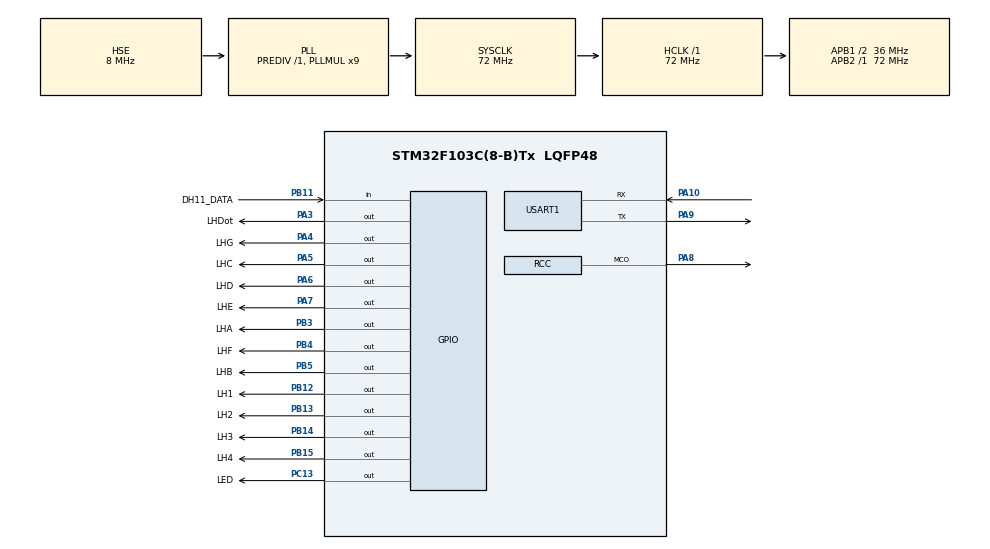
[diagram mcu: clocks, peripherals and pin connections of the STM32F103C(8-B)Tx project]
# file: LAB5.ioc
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Dma.Request0=USART1_TX
Dma.USART1_TX.0.Direction=DMA_MEMORY_TO_PERIPH
Dma.USART1_TX.0.Instance=DMA1_Channel4
Dma.USART1_TX.0.MemDataAlignment=DMA_MDATAALIGN_BYTE
Dma.USART1_TX.0.MemInc=DMA_MINC_ENABLE
Dma.USART1_TX.0.Mode=DMA_NORMAL
Dma.USART1_TX.0.PeriphDataAlignment=DMA_PDATAALIGN_BYTE
Dma.USART1_TX.0.PeriphInc=DMA_PINC_DISABLE
Dma.USART1_TX.0.Priority=DMA_PRIORITY_HIGH
FREERTOS.Tasks01=defaultTask,24,128,StartDefaultTask,Default,NULL,Dynamic,NULL,NULL
FREERTOS.configUSE_NEWLIB_REENTRANT=1
Mcu.Family=STM32F1
Mcu.Name=STM32F103C(8-B)Tx
Mcu.Package=LQFP48
NVIC.DMA1_Channel4_IRQn=true\:5\:0\:true\:false\:true\:true\:false\:true\:true
NVIC.PriorityGroup=NVIC_PRIORITYGROUP_4
NVIC.TIM1_UP_IRQn=true\:15\:0\:true\:false\:true\:false\:false\:true\:true
NVIC.TIM3_IRQn=true\:5\:0\:false\:false\:true\:true\:true\:true\:true
NVIC.TimeBase=TIM1_UP_IRQn
NVIC.TimeBaseIP=TIM1
NVIC.USART1_IRQn=true\:5\:0\:false\:false\:true\:true\:true\:true\:true
PA10.Mode=Asynchronous
PA10.Signal=USART1_RX
PA13.Mode=Serial_Wire
PA13.Signal=SYS_JTMS-SWDIO
PA14.Mode=Serial_Wire
PA14.Signal=SYS_JTCK-SWCLK
PA3.GPIO_Label=LHDot
PA3.GPIO_PuPd=GPIO_PULLUP
PA3.GPIO_Speed=GPIO_SPEED_FREQ_HIGH
PA3.Signal=GPIO_Output
PA4.GPIO_Label=LHG
PA4.GPIO_PuPd=GPIO_PULLUP
PA4.GPIO_Speed=GPIO_SPEED_FREQ_HIGH
PA4.Signal=GPIO_Output
PA5.GPIO_Label=LHC
PA5.GPIO_PuPd=GPIO_PULLUP
PA5.GPIO_Speed=GPIO_SPEED_FREQ_HIGH
PA5.Signal=GPIO_Output
PA6.GPIO_Label=LHD
PA6.GPIO_PuPd=GPIO_PULLUP
PA6.GPIO_Speed=GPIO_SPEED_FREQ_HIGH
PA6.Signal=GPIO_Output
PA7.GPIO_Label=LHE
PA7.GPIO_PuPd=GPIO_PULLUP
PA7.GPIO_Speed=GPIO_SPEED_FREQ_HIGH
PA7.Signal=GPIO_Output
PA8.Mode=Clock-out
PA8.Signal=RCC_MCO
PA9.Mode=Asynchronous
PA9.Signal=USART1_TX
PB11.GPIO_Label=DH11_DATA
PB11.GPIO_PuPd=GPIO_PULLUP
PB11.Signal=GPIO_Input
PB12.GPIO_Label=LH1
PB12.GPIO_PuPd=GPIO_PULLUP
PB12.GPIO_Speed=GPIO_SPEED_FREQ_HIGH
PB12.PinState=GPIO_PIN_SET
PB12.Signal=GPIO_Output
PB13.GPIO_Label=LH2
PB13.GPIO_PuPd=GPIO_PULLUP
PB13.GPIO_Speed=GPIO_SPEED_FREQ_HIGH
PB13.PinState=GPIO_PIN_SET
PB13.Signal=GPIO_Output
PB14.GPIO_Label=LH3
PB14.GPIO_ModeDefaultOutputPP=GPIO_MODE_OUTPUT_PP
PB14.GPIO_PuPd=GPIO_PULLUP
PB14.GPIO_Speed=GPIO_SPEED_FREQ_HIGH
PB14.PinState=GPIO_PIN_SET
PB14.Signal=GPIO_Output
PB15.GPIO_Label=LH4
PB15.GPIO_PuPd=GPIO_PULLUP
PB15.GPIO_Speed=GPIO_SPEED_FREQ_HIGH
PB15.PinState=GPIO_PIN_SET
PB15.Signal=GPIO_Output
PB3.GPIO_Label=LHA
PB3.GPIO_PuPd=GPIO_PULLUP
PB3.GPIO_Speed=GPIO_SPEED_FREQ_HIGH
PB3.Signal=GPIO_Output
PB4.GPIO_Label=LHF
PB4.GPIO_PuPd=GPIO_PULLUP
PB4.GPIO_Speed=GPIO_SPEED_FREQ_HIGH
PB4.Signal=GPIO_Output
PB5.GPIO_Label=LHB
PB5.GPIO_PuPd=GPIO_PULLUP
PB5.GPIO_Speed=GPIO_SPEED_FREQ_HIGH
PB5.Signal=GPIO_Output
PC13-TAMPER-RTC.GPIO_Label=LED
PC13-TAMPER-RTC.Signal=GPIO_Output
PC14-OSC32_IN.Mode=LSE-External-Oscillator
PC14-OSC32_IN.Signal=RCC_OSC32_IN
PC15-OSC32_OUT.Mode=LSE-External-Oscillator
PC15-OSC32_OUT.Signal=RCC_OSC32_OUT
PD0-OSC_IN.Mode=HSE-External-Oscillator
PD0-OSC_IN.Signal=RCC_OSC_IN
PD1-OSC_OUT.Mode=HSE-External-Oscillator
PD1-OSC_OUT.Signal=RCC_OSC_OUT
ProjectManager.HeapSize=0x200
ProjectManager.StackSize=0x400
ProjectManager.TargetToolchain=STM32CubeIDE
RCC.AHBFreq_Value=72000000
RCC.APB1CLKDivider=RCC_HCLK_DIV2
RCC.APB1Freq_Value=36000000
RCC.APB1TimFreq_Value=72000000
RCC.APB2Freq_Value=72000000
RCC.APB2TimFreq_Value=72000000
RCC.HCLKFreq_Value=72000000
RCC.PLLMUL=RCC_PLL_MUL9
RCC.PLLSourceVirtual=RCC_PLLSOURCE_HSE
RCC.RCC_MCOSource=RCC_MCO1SOURCE_PLLCLK
RCC.SYSCLKFreq_VALUE=72000000
RCC.SYSCLKSource=RCC_SYSCLKSOURCE_PLLCLK
RCC.USBFreq_Value=72000000
TIM2.Prescaler=72-1
USART1.VirtualMode=VM_ASYNC
VP_FREERTOS_VS_CMSIS_V2.Mode=CMSIS_V2
VP_SYS_VS_tim1.Mode=TIM1
VP_TIM2_VS_ClockSourceINT.Mode=Internal
VP_TIM3_VS_ClockSourceINT.Mode=Internal
board=custom

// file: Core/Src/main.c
/* USER CODE BEGIN Header */
/**
  ******************************************************************************
  * @file           : main.c
  * @brief          : Main program body
  ******************************************************************************
  * @attention
  *
  * Copyright (c) 2023 STMicroelectronics.
  * All rights reserved.
  *
  * This software is licensed under terms that can be found in the LICENSE file
  * in the root directory of this software component.
  * If no LICENSE file comes with this software, it is provided AS-IS.
  *
  ******************************************************************************
  */
/* USER CODE END Header */
#include "main.h"
#include "cmsis_os.h"
#include "dma.h"
#include "tim.h"
#include "usart.h"
#include "gpio.h"

/* USER CODE BEGIN Includes */
#include "FreeRTOS.h"
/* USER CODE END Includes */

void SystemClock_Config(void);
void MX_FREERTOS_Init(void);

int main(void)
{

  /* MCU Configuration--------------------------------------------------------*/

  /* Reset of all peripherals, Initializes the Flash interface and the Systick. */
  HAL_Init();

  /* Configure the system clock */
  SystemClock_Config();

  /* Initialize all configured peripherals */
  MX_GPIO_Init();
  MX_DMA_Init();
  MX_USART1_UART_Init();
  MX_TIM2_Init();
  MX_TIM3_Init();
  /* USER CODE BEGIN 2 */
  HAL_Delay(1000);
  /* USER CODE END 2 */

  /* Init scheduler */
  osKernelInitialize();  /* Call init function for freertos objects (in freertos.c) */
  MX_FREERTOS_Init();

  /* Start scheduler */
  osKernelStart();
  /* We should never get here as control is now taken by the scheduler */
  /* Infinite loop */
  while (1)
  {

  }
}

void SystemClock_Config(void)
{
  RCC_OscInitTypeDef RCC_OscInitStruct = {0};
  RCC_ClkInitTypeDef RCC_ClkInitStruct = {0};

  /** Initializes the RCC Oscillators according to the specified parameters
  * in the RCC_OscInitTypeDef structure.
  */
  RCC_OscInitStruct.OscillatorType = RCC_OSCILLATORTYPE_HSE;
  RCC_OscInitStruct.HSEState = RCC_HSE_ON;
  RCC_OscInitStruct.HSEPredivValue = RCC_HSE_PREDIV_DIV1;
  RCC_OscInitStruct.HSIState = RCC_HSI_ON;
  RCC_OscInitStruct.PLL.PLLState = RCC_PLL_ON;
  RCC_OscInitStruct.PLL.PLLSource = RCC_PLLSOURCE_HSE;
  RCC_OscInitStruct.PLL.PLLMUL = RCC_PLL_MUL9;
  if (HAL_RCC_OscConfig(&RCC_OscInitStruct) != HAL_OK)
  {
    Error_Handler();
  }

  /** Initializes the CPU, AHB and APB buses clocks
  */
  RCC_ClkInitStruct.ClockType = RCC_CLOCKTYPE_HCLK|RCC_CLOCKTYPE_SYSCLK
                              |RCC_CLOCKTYPE_PCLK1|RCC_CLOCKTYPE_PCLK2;
  RCC_ClkInitStruct.SYSCLKSource = RCC_SYSCLKSOURCE_PLLCLK;
  RCC_ClkInitStruct.AHBCLKDivider = RCC_SYSCLK_DIV1;
  RCC_ClkInitStruct.APB1CLKDivider = RCC_HCLK_DIV2;
  RCC_ClkInitStruct.APB2CLKDivider = RCC_HCLK_DIV1;

  if (HAL_RCC_ClockConfig(&RCC_ClkInitStruct, FLASH_LATENCY_2) != HAL_OK)
  {
    Error_Handler();
  }
  HAL_RCC_MCOConfig(RCC_MCO, RCC_MCO1SOURCE_PLLCLK, RCC_MCODIV_1);
}

void HAL_TIM_PeriodElapsedCallback(TIM_HandleTypeDef *htim)
{
  if (htim->Instance == TIM1) {
    HAL_IncTick();
  }
}

void Error_Handler(void)
{
  __disable_irq();
  while (1)
  {
  }
}

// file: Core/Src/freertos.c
/* USER CODE BEGIN Header */
/**
  ******************************************************************************
  * File Name          : freertos.c
  * Description        : Code for freertos applications
  ******************************************************************************
  * @attention
  *
  * Copyright (c) 2023 STMicroelectronics.
  * All rights reserved.
  *
  * This software is licensed under terms that can be found in the LICENSE file
  * in the root directory of this software component.
  * If no LICENSE file comes with this software, it is provided AS-IS.
  *
  ******************************************************************************
  */
/* USER CODE END Header */

#include "FreeRTOS.h"
#include "task.h"
#include "main.h"
#include "cmsis_os.h"

/* USER CODE BEGIN Includes */
#include <string.h>
#include <stdio.h>

/* USER CODE END Includes */

/* USER CODE BEGIN PD */
#define TASK_LED
#define TASK_DH11
#define TASK_Display
//#define SameDigit
//#define CountDigit
#define DHT_Digit
#define Light

//数码管掩�????
#define Mask       0x01
#define Shift_A    0x00
#define Shift_B    0x01
#define Shift_C    0x02
#define Shift_D    0x03
#define Shift_E    0x04
#define Shift_F    0x05
#define Shift_G    0x06
#define Shift_Dot  0x07

/* USER CODE END PD */

/* USER CODE BEGIN Variables */
extern UART_HandleTypeDef huart1;
extern TIM_HandleTypeDef htim2;
uint8_t TxBuffer[128];

uint8_t temperature[2];
uint8_t humidity[2];
#ifdef DHT_Digit
uint32_t DHTnumber;
#endif

#ifdef TASK_LED
const char* LED_pcName = "TASK_LED";
const uint16_t LED_usStackDepth = 64;
const UBaseType_t LED_uxPriority = osPriorityNormal1;
TaskHandle_t LED_pxCreatedTask;
#endif
#ifdef TASK_DH11
const char* DH11_pcName = "TASK_DH11";
const uint16_t DH11_usStackDepth = 128;
const UBaseType_t DH11_uxPriority = osPriorityNormal1;
TaskHandle_t DH11_pxCreatedTask;
#endif
#ifdef TASK_Display
const char* Display_pcName = "TASK_Display";
const uint16_t Display_usStackDepth = 64;
const UBaseType_t Display_uxPriority = osPriorityNormal1;
TaskHandle_t Display_pxCreatedTask;
#endif

static const uint8_t Digit[10] = {//数字的数码管表示，每�??0 bit表示显示对应的段，从高到低分别Dot,G,F,E,D,C,B,A�??
    0b11000000,  // 0
    0b11111001,  // 1
    0b10100100,  // 2
    0b10110000,  // 3
    0b10011001,  // 4
    0b10010010,  // 5
    0b10000010,  // 6
    0b11111000,  // 7
    0b10000000,  // 8
    0b10010000   // 9
};
#ifdef CountDigit
static uint32_t digit;
const char* Digit_pcName = "TASK_Digit";
const uint16_t Digit_usStackDepth = 64;
const UBaseType_t Digit_uxPriority = osPriorityNormal1;
TaskHandle_t Digit_pxCreatedTask;
#endif

/* USER CODE END Variables */
/* Definitions for defaultTask */
osThreadId_t defaultTaskHandle;
const osThreadAttr_t defaultTask_attributes = {
  .name = "defaultTask",
  .stack_size = 128 * 4,
  .priority = (osPriority_t) osPriorityNormal,
};

/* USER CODE BEGIN FunctionPrototypes */
void vLEDTaskStart(void *pvParameters);

void GpioSwitchToInput(GPIO_TypeDef *GPIO_Port, uint16_t GPIO_Pin);
void GpioSwitchToOutput(GPIO_TypeDef *GPIO_Port, uint16_t GPIO_Pin);
void vDH11TaskStart(void * pvParameters);
void vDH11SignalStart();
void Delay_us(uint16_t delay);
uint8_t CheckResponseSignal();

uint8_t DH11BitRead();
uint8_t DH11ByteRead();
uint8_t DH11AllConnect();

void vDisplayTaskStart(void * pvParameters);
void OneDigit(uint8_t digit);
void DiffDigit(uint32_t* digit);
void vDigitTaskStart(void* pvParameters);

void OneDigit_SameLight(uint8_t digit);

/* USER CODE END FunctionPrototypes */

void StartDefaultTask(void *argument);

void MX_FREERTOS_Init(void); /* (MISRA C 2004 rule 8.1) */

void MX_FREERTOS_Init(void) {

  /* Create the thread(s) */
  /* creation of defaultTask */
  defaultTaskHandle = osThreadNew(StartDefaultTask, NULL, &defaultTask_attributes);

  /* USER CODE BEGIN RTOS_THREADS */
  /* add threads, ... */

#ifdef TASK_LED
  if(xTaskCreate(vLEDTaskStart,LED_pcName,LED_usStackDepth,NULL,LED_uxPriority,&LED_pxCreatedTask) != pdPASS) {
    uint8_t ch[] = "Fail to create Task_LED!!!\r\n";
    HAL_UART_Transmit(&huart1, ch, strlen((char*)ch), 0xFFFF);
    } //else {
//    uint8_t ch[] = "Create Task_LED success!!!\r\n";
//    HAL_UART_Transmit(&huart1, ch, strlen((char*)ch), 0xFFFF);
//  }
#endif
#ifdef TASK_DH11
  if (xTaskCreate(vDH11TaskStart, DH11_pcName, DH11_usStackDepth, NULL, DH11_uxPriority, &DH11_pxCreatedTask) != pdPASS)
  {
	  char* ch = "Failed to create Task_DHT11!\r\n";
	  HAL_UART_Transmit(&huart1, (uint8_t*)ch, strlen((char*)ch), 0xffff);
  }
  // else {
  //   sprintf((char*)TxBuffer,"Create Task_DH11 success!!!\r\n");
  //   HAL_UART_Transmit_DMA(&huart1, TxBuffer,30);
  // }
#endif

#ifdef TASK_Display
  if (xTaskCreate(vDisplayTaskStart, Display_pcName, Display_usStackDepth, NULL, Display_uxPriority, &Display_pxCreatedTask) != pdPASS)
  {
    char* ch = "Failed to create Task_Display!\r\n";
    HAL_UART_Transmit(&huart1, (uint8_t*)ch, strlen((char*)ch), 0xffff);
  }
#endif
#ifdef CountDigit
  if (xTaskCreate(vDigitTaskStart, Digit_pcName, Digit_usStackDepth, NULL, Digit_uxPriority, &Digit_pxCreatedTask) != pdPASS)
  {
    char* ch = "Failed to create Task_Digit!\r\n";
    HAL_UART_Transmit(&huart1, (uint8_t*)ch, strlen((char*)ch), 0xffff);
  }

#endif

  /* USER CODE END RTOS_THREADS */

}

void StartDefaultTask(void *argument)
{
  /* USER CODE BEGIN StartDefaultTask */
  /* Infinite loop */
  for(;;)
  {
    osDelay(500);
  }
  /* USER CODE END StartDefaultTask */
}

/* USER CODE BEGIN Application */

void vLEDTaskStart(void *pvParameters)
{
  TickType_t xLastWakeTime;
  const TickType_t delay_time = pdMS_TO_TICKS(1000);

  xLastWakeTime = xTaskGetTickCount();
  for(;;)
  {
    HAL_GPIO_TogglePin(LED_GPIO_Port, LED_Pin);//翻转电平
    vTaskDelayUntil(&xLastWakeTime, delay_time);//延时
  }
}
/**
 * @brief 修改对应引脚模式为输入模�????????????
 *
 * @param GPIO_Port 引脚端口
 * @param GPIO_Pin 引脚编号
 */
void GpioSwitchToInput(GPIO_TypeDef *GPIO_Port, uint16_t GPIO_Pin)
{
  GPIO_InitTypeDef GPIO_InitStruct = {0};

  GPIO_InitStruct.Pin = GPIO_Pin; //设置引脚编号
  GPIO_InitStruct.Mode = GPIO_MODE_INPUT;//设置引脚模式
  GPIO_InitStruct.Pull = GPIO_PULLUP;//省略上拉电阻
  // GPIO_InitStruct.Speed = GPIO_SPEED_FREQ_LOW;
  HAL_GPIO_Init(GPIO_Port, &GPIO_InitStruct);
}
/**
 * @brief 修改对应引脚模式为输出模�????????????
 *
 * @param GPIO_Port 引脚端口
 * @param GPIO_Pin 引脚编号
 */
void GpioSwitchToOutput(GPIO_TypeDef *GPIO_Port, uint16_t GPIO_Pin)
{
  GPIO_InitTypeDef GPIO_InitStruct = {0};

  GPIO_InitStruct.Pin = GPIO_Pin;//设置引脚编号
  GPIO_InitStruct.Mode = GPIO_MODE_OUTPUT_PP;//设置引脚模式
  GPIO_InitStruct.Pull = GPIO_PULLUP;//省略上拉电阻
  GPIO_InitStruct.Speed = GPIO_SPEED_FREQ_LOW;
  HAL_GPIO_Init(GPIO_Port, &GPIO_InitStruct);
}

void Delay_us(uint16_t delay)//通过定时器TIM2实现微秒级定�????????????
{
  //
  __HAL_TIM_DISABLE(&htim2);
  __HAL_TIM_SET_COUNTER(&htim2,0);
  __HAL_TIM_ENABLE(&htim2);

  while(__HAL_TIM_GET_COUNTER(&htim2) < delay){

  }

  __HAL_TIM_DISABLE(&htim2);
  }

void vDH11SignalStart()
{
  GpioSwitchToOutput(DH11_DATA_GPIO_Port,DH11_DATA_Pin);//将引脚设置为输出模式

  HAL_GPIO_WritePin(DH11_DATA_GPIO_Port,DH11_DATA_Pin, GPIO_PIN_RESET);//将引脚电平拉
  HAL_Delay(18);//延迟18ms

  HAL_GPIO_WritePin(DH11_DATA_GPIO_Port,DH11_DATA_Pin, GPIO_PIN_SET);//将引脚电平拉
  Delay_us(30);//延时30us

}
uint8_t CheckResponseSignal()
{
  uint8_t wait=0;
  GpioSwitchToInput(DH11_DATA_GPIO_Port,DH11_DATA_Pin);//切换到输入模�????????????

  //等待DHT接收响应拉低电平，最多等20us
  while(GPIO_PIN_SET == HAL_GPIO_ReadPin(DH11_DATA_GPIO_Port,DH11_DATA_Pin) && wait < 20){
    wait++;
    Delay_us(1);
  }
  //接收响应信号
  wait = 0;
  while(GPIO_PIN_RESET == HAL_GPIO_ReadPin(DH11_DATA_GPIO_Port,DH11_DATA_Pin) && wait < 100){
    wait++;
    Delay_us(1);
  }
  if(wait > 99 ){
    return wait;
  }
  return 0;
}

uint8_t DH11BitRead()
{
  uint8_t wait=0;

  // 上一个DHT拉高可能没有结束，且引脚电平转换电平�???????????要时间�?�等�???????????
  while(GPIO_PIN_SET == HAL_GPIO_ReadPin(DH11_DATA_GPIO_Port, DH11_DATA_Pin) && wait < 50)
  {
    wait++;
    Delay_us(1);
  }

  wait = 0;
  //�???????????测测DH11 1Bit �???????????始信号，标准持续50us，至多等�???????????70us
  while(GPIO_PIN_RESET == HAL_GPIO_ReadPin(DH11_DATA_GPIO_Port, DH11_DATA_Pin) && wait < 50)
  {
    wait++;
    Delay_us(1);
  }
  if(wait >= 50) {
    sprintf(TxBuffer,"DHT send bit begin fail\r\n");
//    HAL_UART_Transmit_DMA(&huart1,TxBuffer,30);
  }
  //DHT根据高电平脉冲宽度决定传输的数据�????????????26us-28us表示0, 70us表示1，所�????????????40us后仍为高电平则是1
  Delay_us(40);
  if(GPIO_PIN_SET == HAL_GPIO_ReadPin(DH11_DATA_GPIO_Port,DH11_DATA_Pin)) return 1;
  else return 0;

}

uint8_t DH11ByteRead()
{
  uint8_t ret;
  for (uint8_t i = 0; i < 8; i++)
  {
    //接收DHT数据，从高位到低�???????????
    ret <<= 1;
    ret |= DH11BitRead();
  }
  return ret;
}

uint8_t DH11AllConnect()//进行�????????????次完整的DHT交互，将得到的数据存储到全局变量�????????????
{
  uint8_t ret;
  vDH11SignalStart();
  if((ret = CheckResponseSignal()) == 0)
  {
    uint8_t data[5] = {0};
    for(uint8_t i = 0; i < 5; i++){
      data[i] = DH11ByteRead();
    }
    if((data[0]+data[1]+data[2]+data[3]) == data[4]){
      humidity[0] = data[0];
      humidity[1] = data[1];
      temperature[0] = data[2];
      temperature[1] = data[3];
#ifdef DHT_Digit
      DHTnumber = humidity[0] *100 + temperature[0];
#endif
      return 0;
    } else {
      sprintf(TxBuffer,"DH11 Data checksum wrong, %u %u %u %u %u \r\n",data[0],data[1],data[2],data[3],data[4]);
//      HAL_UART_Transmit(&huart1, TxBuffer, 50,0xFFFF);
      return 2;
    }

  } else {
    sprintf(TxBuffer,"DH11 connect fail,code %u\r\n",ret);
//    HAL_UART_Transmit_DMA(&huart1, TxBuffer,35);
    return 1;
  }
}

void vDH11TaskStart(void * pvParameters)
{
  TickType_t xLastWakeTime;
  const TickType_t delay_time = pdMS_TO_TICKS(1000);
  xLastWakeTime = xTaskGetTickCount();

  for(;;){
    vTaskDelayUntil(&xLastWakeTime, delay_time);//每秒�???????????测一�???????????

    uint ret = DH11AllConnect();
    if(ret == 0){
      sprintf(TxBuffer,"Humidity: %u.%u %%    Temperature: %u.%u ^C  \r\n",humidity[0], humidity[1],temperature[0], temperature[1]);
      HAL_UART_Transmit_DMA(&huart1, TxBuffer, 50);
    } else {
      uint8_t Tx[25];
      sprintf(Tx,"fail to put DHT data\r\n");
//      HAL_UART_Transmit(&huart1, Tx, 25,0xFFFF);
    }
  }
}

void vDisplayTaskStart(void * pvParameters)//数码管显示任�?????
{
#ifdef SameDigit
  TickType_t xLastWakeTime;
  const TickType_t delay_time = pdMS_TO_TICKS(1000);
  xLastWakeTime = xTaskGetTickCount();
  HAL_GPIO_WritePin(LH1_GPIO_Port,LH1_Pin,GPIO_PIN_SET);
  HAL_GPIO_WritePin(LH2_GPIO_Port,LH2_Pin,GPIO_PIN_SET);
  HAL_GPIO_WritePin(LH3_GPIO_Port,LH3_Pin,GPIO_PIN_SET);
  HAL_GPIO_WritePin(LH4_GPIO_Port,LH4_Pin,GPIO_PIN_SET);
  uint8_t digit=0;
#endif

#ifdef CountDigit
  TickType_t xLastWakeTime;
  const TickType_t delay_time = pdMS_TO_TICKS(1000);
  xLastWakeTime = xTaskGetTickCount();
  HAL_GPIO_WritePin(LH1_GPIO_Port,LH1_Pin,GPIO_PIN_RESET);
  HAL_GPIO_WritePin(LH2_GPIO_Port,LH2_Pin,GPIO_PIN_RESET);
  HAL_GPIO_WritePin(LH3_GPIO_Port,LH3_Pin,GPIO_PIN_RESET);
  HAL_GPIO_WritePin(LH4_GPIO_Port,LH4_Pin,GPIO_PIN_RESET);
#endif

  for(;;){
#ifdef SameDigit
  vTaskDelayUntil(&xLastWakeTime, delay_time);
  OneDigit(digit);
  digit++;
  digit = digit%10;
#endif
#ifdef CountDigit
  DiffDigit(&digit);
#endif
#ifdef DHT_Digit
  DiffDigit(&DHTnumber);
#endif

  }

}

void OneDigit(uint8_t digit)
{
  //  根据传入的数�????0~9控制七段数码管的亮灭�????
  //  经过译码转换�????8bit表示的字节控�????8个段显示
  HAL_GPIO_WritePin(LHA_GPIO_Port,LHA_Pin, ((Digit[digit]>>Shift_A) & Mask)); //是否显示a�??
  HAL_GPIO_WritePin(LHB_GPIO_Port,LHB_Pin, ((Digit[digit]>>Shift_B) & Mask));
  HAL_GPIO_WritePin(LHC_GPIO_Port,LHC_Pin, ((Digit[digit]>>Shift_C) & Mask));
  HAL_GPIO_WritePin(LHD_GPIO_Port,LHD_Pin, ((Digit[digit]>>Shift_D) & Mask));
  HAL_GPIO_WritePin(LHE_GPIO_Port,LHE_Pin, ((Digit[digit]>>Shift_E) & Mask));
  HAL_GPIO_WritePin(LHF_GPIO_Port,LHF_Pin, ((Digit[digit]>>Shift_F) & Mask));
  HAL_GPIO_WritePin(LHG_GPIO_Port,LHG_Pin, ((Digit[digit]>>Shift_G) & Mask));
  HAL_GPIO_WritePin(LHDot_GPIO_Port,LHDot_Pin, ((Digit[digit]>>Shift_Dot)&Mask) );
}

void DiffDigit(uint32_t* digit)
{
  TickType_t xLastWakeTime;
  const TickType_t delay_time = pdMS_TO_TICKS(1);
  xLastWakeTime = xTaskGetTickCount();

  while(1){
    uint16_t single=0;

    //第一组数码管
     single = *digit/1000 %10;
     HAL_GPIO_WritePin(LH1_GPIO_Port,LH1_Pin,GPIO_PIN_SET); //使能第一组数码管
     #ifdef Light
     OneDigit_SameLight(single);
     #else
     OneDigit(single); //显示数字
     vTaskDelayUntil(&xLastWakeTime, delay_time);//延时40ms
     #endif
     HAL_GPIO_WritePin(LH1_GPIO_Port,LH1_Pin,GPIO_PIN_RESET); //终止第一组的显示，利用视觉暂留效应保留视觉上的数�??

     //第二组数码管
     single = (*digit / 100)%10;
    HAL_GPIO_WritePin(LH2_GPIO_Port,LH2_Pin,GPIO_PIN_SET); //使能第二组数码管
     #ifdef Light
     OneDigit_SameLight(single);
     #else
     OneDigit(single); //显示数字
     vTaskDelayUntil(&xLastWakeTime, delay_time);//延时40ms
     #endif
     HAL_GPIO_WritePin(LH2_GPIO_Port,LH2_Pin,GPIO_PIN_RESET); //终止第二组的显示，利用视觉暂留效应保留视觉上的数�??

     //第三组数码管
     single = *digit/10 %10;
     HAL_GPIO_WritePin(LH3_GPIO_Port,LH3_Pin,GPIO_PIN_SET); //使能第三组数码管
     #ifdef Light
     OneDigit_SameLight(single);
     #else
     OneDigit(single); //显示数字
     vTaskDelayUntil(&xLastWakeTime, delay_time);//延时40ms
     #endif
     HAL_GPIO_WritePin(LH3_GPIO_Port,LH3_Pin,GPIO_PIN_RESET); //终止第三组的显示，利用视觉暂留效应保留视觉上的数�??

     //第四组数码管
     single = *digit %10;
     HAL_GPIO_WritePin(LH4_GPIO_Port,LH4_Pin,GPIO_PIN_SET); //使能第四组数码管
     #ifdef Light
     OneDigit_SameLight(single);
     #else
     OneDigit(single); //显示数字
     vTaskDelayUntil(&xLastWakeTime, delay_time);//延时40ms
     #endif
     HAL_GPIO_WritePin(LH4_GPIO_Port,LH4_Pin,GPIO_PIN_RESET); //终止第四组的显示，利用视觉暂留效应保留视觉上的数�??

  }

}
#ifdef CountDigit
void vDigitTaskStart(void* pvParameters)
{
  TickType_t xLastWakeTime;
  const TickType_t delay_time = pdMS_TO_TICKS(1000);
  xLastWakeTime = xTaskGetTickCount();

  for(;;){
    vTaskDelayUntil(&xLastWakeTime, delay_time);
    digit++;
    digit = digit%10000;
  }
}
#endif

void OneDigit_SameLight(uint8_t digit)
{
	  TickType_t xLastWakeTime;
	  const TickType_t delay_time = pdMS_TO_TICKS(1);
	  xLastWakeTime = xTaskGetTickCount();
	  HAL_GPIO_WritePin(LHDot_GPIO_Port,LHDot_Pin, GPIO_PIN_SET );
  //  根据传入的数�????0~9控制七段数码管的亮灭�????
  //  经过译码转换�????8bit表示的字节控�????8个段显示
if(((Digit[digit]>>Shift_A) & Mask) == 0){
     HAL_GPIO_WritePin(LHA_GPIO_Port,LHA_Pin, ((Digit[digit]>>Shift_A) & Mask)); //是否显示a�??
     vTaskDelayUntil(&xLastWakeTime, delay_time);//延时40ms
     HAL_GPIO_WritePin(LHA_GPIO_Port,LHA_Pin, GPIO_PIN_SET);
}
if(((Digit[digit]>>Shift_B) & Mask) == 0){
     HAL_GPIO_WritePin(LHB_GPIO_Port,LHB_Pin, ((Digit[digit]>>Shift_B) & Mask));
     vTaskDelayUntil(&xLastWakeTime, delay_time);//延时40ms
     HAL_GPIO_WritePin(LHB_GPIO_Port,LHB_Pin, GPIO_PIN_SET);
}
if(((Digit[digit]>>Shift_C) & Mask) == 0){
     HAL_GPIO_WritePin(LHC_GPIO_Port,LHC_Pin, ((Digit[digit]>>Shift_C) & Mask));
     vTaskDelayUntil(&xLastWakeTime, delay_time);//延时40ms
     HAL_GPIO_WritePin(LHC_GPIO_Port,LHC_Pin, GPIO_PIN_SET);
}
if(((Digit[digit]>>Shift_D) & Mask) == 0){
     HAL_GPIO_WritePin(LHD_GPIO_Port,LHD_Pin, ((Digit[digit]>>Shift_D) & Mask));
     vTaskDelayUntil(&xLastWakeTime, delay_time);//延时40ms
     HAL_GPIO_WritePin(LHD_GPIO_Port,LHD_Pin, GPIO_PIN_SET);
}
if(((Digit[digit]>>Shift_E) & Mask) == 0){
     HAL_GPIO_WritePin(LHE_GPIO_Port,LHE_Pin, ((Digit[digit]>>Shift_E) & Mask));
     vTaskDelayUntil(&xLastWakeTime, delay_time);//延时40ms
     HAL_GPIO_WritePin(LHE_GPIO_Port,LHE_Pin, GPIO_PIN_SET);
}
if(((Digit[digit]>>Shift_F) & Mask) == 0){
     HAL_GPIO_WritePin(LHF_GPIO_Port,LHF_Pin, ((Digit[digit]>>Shift_F) & Mask));
     vTaskDelayUntil(&xLastWakeTime, delay_time);//延时40ms
     HAL_GPIO_WritePin(LHF_GPIO_Port,LHF_Pin, GPIO_PIN_SET);
}
if(((Digit[digit]>>Shift_G) & Mask) == 0){
     HAL_GPIO_WritePin(LHG_GPIO_Port,LHG_Pin, ((Digit[digit]>>Shift_G) & Mask));
     vTaskDelayUntil(&xLastWakeTime, delay_time);//延时40ms
     HAL_GPIO_WritePin(LHG_GPIO_Port,LHG_Pin, GPIO_PIN_SET);
}
//if(((Digit[digit]>>Shift_Dot) & Mask) == 0){
//     HAL_GPIO_WritePin(LHDot_GPIO_Port,LHDot_Pin, ((Digit[digit]>>Shift_Dot)&Mask) );
//     vTaskDelayUntil(&xLastWakeTime, delay_time);//延时40ms
//     HAL_GPIO_WritePin(LHDot_GPIO_Port,LHDot_Pin, GPIO_PIN_SET);
//}
}

/* USER CODE END Application */
